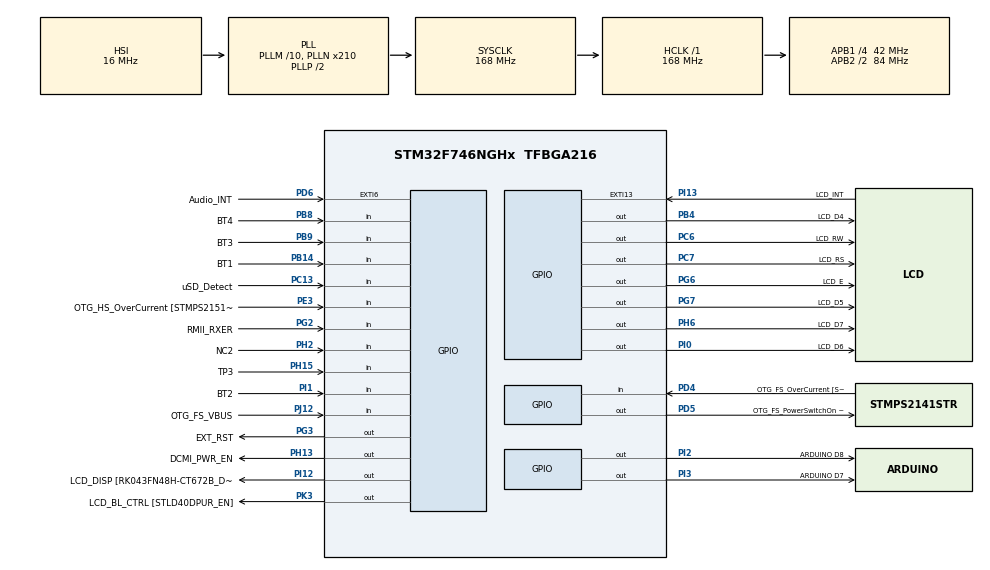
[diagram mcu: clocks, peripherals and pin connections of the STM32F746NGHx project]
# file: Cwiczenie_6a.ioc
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Mcu.Family=STM32F7
Mcu.Name=STM32F746NGHx
Mcu.Package=TFBGA216
NVIC.PriorityGroup=NVIC_PRIORITYGROUP_4
PA0/WKUP.GPIO_Label=ARDUINO A0
PA0/WKUP.GPIO_Mode=GPIO_MODE_ANALOG
PA0/WKUP.GPIO_PuPd=GPIO_NOPULL
PA0/WKUP.Signal=ADCx_IN0
PA1.GPIO_Label=RMII_REF_CLK [LAN8742A-CZ-TR_REFCLK0]
PA1.Signal=ETH_REF_CLK
PA10.GPIO_Label=OTG_FS_ID
PA10.Signal=USB_OTG_FS_ID
PA11.GPIO_Label=OTG_FS_N
PA11.Signal=USB_OTG_FS_DM
PA12.GPIO_Label=OTG_FS_P
PA12.Signal=USB_OTG_FS_DP
PA13.GPIO_Label=SWDIO
PA13.Signal=SYS_JTMS-SWDIO
PA14.GPIO_Label=SWCLK
PA14.Signal=SYS_JTCK-SWCLK
PA15.GPIO_Label=ARDUINO PWM/D9
PA15.GPIO_ModeDefaultPP=GPIO_MODE_AF_PP
PA15.GPIO_PuPd=GPIO_NOPULL
PA15.GPIO_Speed=GPIO_SPEED_FREQ_LOW
PA15.Signal=S_TIM2_CH1_ETR
PA2.GPIO_Label=RMII_MDIO [LAN8742A-CZ-TR_MDIO]
PA2.Signal=ETH_MDIO
PA3.GPIO_Label=ULPI_D0 [USB3320C-EZK_D0]
PA3.Signal=USB_OTG_HS_ULPI_D0
PA4.GPIO_Label=DCMI_HSYNC
PA4.Signal=DCMI_HSYNC
PA5.GPIO_Label=ULPI_CLK [USB3320C-EZK_CLKOUT]
PA5.Signal=USB_OTG_HS_ULPI_CK
PA6.Signal=DCMI_PIXCLK
PA7.GPIO_Label=RMII_CRS_DV [LAN8742A-CZ-TR_CRS_DV]
PA7.Signal=ETH_CRS_DV
PA8.GPIO_Label=ARDUINO PWM/D10
PA8.GPIO_ModeDefaultPP=GPIO_MODE_AF_PP
PA8.GPIO_PuPd=GPIO_NOPULL
PA8.GPIO_Speed=GPIO_SPEED_FREQ_LOW
PA8.Signal=S_TIM1_CH1
PA9.GPIO_Label=VCP_TX [STM32F103CBT6_PA3]
PA9.GPIO_Mode=GPIO_MODE_AF_PP
PA9.GPIO_PuPd=GPIO_NOPULL
PA9.GPIO_Speed=GPIO_SPEED_FREQ_LOW
PA9.Signal=USART1_TX
PB0.GPIO_Label=ULPI_D1 [USB3320C-EZK_D1]
PB0.Signal=USB_OTG_HS_ULPI_D1
PB1.GPIO_Label=ULPI_D2 [USB3320C-EZK_D2]
PB1.Signal=USB_OTG_HS_ULPI_D2
PB10.GPIO_Label=ULPI_D3 [USB3320C-EZK_D3]
PB10.Signal=USB_OTG_HS_ULPI_D3
PB11.GPIO_Label=ULPI_D4 [USB3320C-EZK_D4]
PB11.Signal=USB_OTG_HS_ULPI_D4
PB12.GPIO_Label=ULPI_D5 [USB3320C-EZK_D5]
PB12.Signal=USB_OTG_HS_ULPI_D5
PB13.GPIO_Label=ULPI_D6 [USB3320C-EZK_D6]
PB13.Signal=USB_OTG_HS_ULPI_D6
PB14.GPIO_Label=BT1
PB14.GPIO_PuPd=GPIO_PULLUP
PB14.Signal=GPIO_Input
PB15.GPIO_Label=ARDUINO MOSI/PWM/D11
PB15.GPIO_Mode=GPIO_MODE_AF_PP
PB15.GPIO_PuPd=GPIO_NOPULL
PB15.GPIO_Speed=GPIO_SPEED_FREQ_LOW
PB15.Signal=SPI2_MOSI
PB2.Signal=QUADSPI_CLK
PB3.GPIO_Label=SWO
PB3.Signal=SYS_JTDO-SWO
PB4.GPIO_Label=LCD_D4
PB4.GPIO_Speed=GPIO_SPEED_FREQ_MEDIUM
PB4.Signal=GPIO_Output
PB5.GPIO_Label=ULPI_D7 [USB3320C-EZK_D7]
PB5.Signal=USB_OTG_HS_ULPI_D7
PB6.GPIO_Label=QSPI_NCS [N25Q128A13EF840E_S]
PB6.Signal=QUADSPI_BK1_NCS
PB7.GPIO_Label=VCP_RX [STM32F103CBT6_PA2]
PB7.GPIO_Mode=GPIO_MODE_AF_PP
PB7.GPIO_PuPd=GPIO_NOPULL
PB7.GPIO_Speed=GPIO_SPEED_FREQ_LOW
PB7.Signal=USART1_RX
PB8.GPIO_Label=BT4
PB8.GPIO_PuPd=GPIO_PULLUP
PB8.Signal=GPIO_Input
PB9.GPIO_Label=BT3
PB9.GPIO_PuPd=GPIO_PULLUP
PB9.Signal=GPIO_Input
PC0.GPIO_Label=ULPI_STP [USB3320C-EZK_STP]
PC0.Signal=USB_OTG_HS_ULPI_STP
PC1.GPIO_Label=RMII_MDC [LAN8742A-CZ-TR_MDC]
PC1.Signal=ETH_MDC
PC10.GPIO_Label=SDMMC_D2
PC10.Signal=SDMMC1_D2
PC11.GPIO_Label=SDMMC_D3
PC11.Signal=SDMMC1_D3
PC12.GPIO_Label=SDMMC_CK
PC12.Signal=SDMMC1_CK
PC13.GPIO_Label=uSD_Detect
PC13.Signal=GPIO_Input
PC14/OSC32_IN.GPIO_Label=RCC_OSC32_IN
PC14/OSC32_IN.Signal=RCC_OSC32_IN
PC15/OSC32_OUT.GPIO_Label=RCC_OSC32_OUT
PC15/OSC32_OUT.Signal=RCC_OSC32_OUT
PC2.GPIO_Label=ULPI_DIR [USB3320C-EZK_DIR]
PC2.Signal=USB_OTG_HS_ULPI_DIR
PC3.GPIO_Label=FMC_SDCKE0 [MT48LC4M32B2B5-6A_CKE]
PC3.Signal=FMC_SDCKE0
PC4.GPIO_Label=RMII_RXD0 [LAN8742A-CZ-TR_RXD0]
PC4.Signal=ETH_RXD0
PC5.GPIO_Label=RMII_RXD1 [LAN8742A-CZ-TR_RXD1]
PC5.Signal=ETH_RXD1
PC6.GPIO_Label=LCD_RW
PC6.GPIO_Speed=GPIO_SPEED_FREQ_MEDIUM
PC6.Signal=GPIO_Output
PC7.GPIO_Label=LCD_RS
PC7.GPIO_Speed=GPIO_SPEED_FREQ_MEDIUM
PC7.Signal=GPIO_Output
PC8.Signal=SDMMC1_D0
PC9.Signal=SDMMC1_D1
PD0.GPIO_Label=FMC_D2 [MT48LC4M32B2B5-6A_DQ2]
PD0.Signal=FMC_D2_DA2
PD1.GPIO_Label=FMC_D3 [MT48LC4M32B2B5-6A_DQ3]
PD1.Signal=FMC_D3_DA3
PD10.GPIO_Label=FMC_D15 [MT48LC4M32B2B5-6A_DQ15]
PD10.Signal=FMC_D15_DA15
PD11.GPIO_Label=QSPI_D0 [N25Q128A13EF840E_DQ0]
PD11.Signal=QUADSPI_BK1_IO0
PD12.GPIO_Label=QSPI_D1 [N25Q128A13EF840E_DQ1]
PD12.Signal=QUADSPI_BK1_IO1
PD13.GPIO_Label=QSPI_D3 [N25Q128A13EF840E_DQ3]
PD13.Signal=QUADSPI_BK1_IO3
PD14.GPIO_Label=FMC_D0 [MT48LC4M32B2B5-6A_DQ0]
PD14.Signal=FMC_D0_DA0
PD15.GPIO_Label=FMC_D1 [MT48LC4M32B2B5-6A_DQ1]
PD15.Signal=FMC_D1_DA1
PD2.GPIO_Label=SDMMC_D0
PD2.Signal=SDMMC1_CMD
PD3.GPIO_Label=DCMI_D5
PD3.Signal=DCMI_D5
PD4.GPIO_Label=OTG_FS_OverCurrent [STMPS2141STR_Fault]
PD4.Signal=GPIO_Input
PD5.GPIO_Label=OTG_FS_PowerSwitchOn [STMPS2141STR_EN]
PD5.PinState=GPIO_PIN_SET
PD5.Signal=GPIO_Output
PD6.GPIO_Label=Audio_INT
PD6.GPIO_ModeDefaultEXTI=GPIO_MODE_EVT_RISING
PD6.Signal=GPXTI6
PD7.GPIO_Label=SPDIF_RX0 [74LVC1G04SE_4]
PD7.Signal=SPDIFRX_IN0
PD8.GPIO_Label=FMC_D13 [MT48LC4M32B2B5-6A_DQ13]
PD8.Signal=FMC_D13_DA13
PD9.GPIO_Label=FMC_D14 [MT48LC4M32B2B5-6A_DQ14]
PD9.Signal=FMC_D14_DA14
PE0.GPIO_Label=FMC_NBL0 [MT48LC4M32B2B5-6A_DQM0]
PE0.Signal=FMC_NBL0
PE1.GPIO_Label=FMC_NBL1 [MT48LC4M32B2B5-6A_DQM1]
PE1.Signal=FMC_NBL1
PE10.GPIO_Label=FMC_D7 [MT48LC4M32B2B5-6A_DQ7]
PE10.Signal=FMC_D7_DA7
PE11.GPIO_Label=FMC_D8 [MT48LC4M32B2B5-6A_DQ8]
PE11.Signal=FMC_D8_DA8
PE12.GPIO_Label=FMC_D9 [MT48LC4M32B2B5-6A_DQ9]
PE12.Signal=FMC_D9_DA9
PE13.GPIO_Label=FMC_D10 [MT48LC4M32B2B5-6A_DQ10]
PE13.Signal=FMC_D10_DA10
PE14.GPIO_Label=FMC_D11 [MT48LC4M32B2B5-6A_DQ11]
PE14.Signal=FMC_D11_DA11
PE15.GPIO_Label=FMC_D12 [MT48LC4M32B2B5-6A_DQ12]
PE15.Signal=FMC_D12_DA12
PE2.GPIO_Label=QSPI_D2 [N25Q128A13EF840E_DQ2]
PE2.Signal=QUADSPI_BK1_IO2
PE3.GPIO_Label=OTG_HS_OverCurrent [STMPS2151STR_FAULT]
PE3.Signal=GPIO_Input
PE4.GPIO_Label=LCD_B0 [RK043FN48H-CT672B_B0]
PE4.Signal=LTDC_B0
PE5.GPIO_Label=DCMI_D6
PE5.Signal=DCMI_D6
PE6.GPIO_Label=DCMI_D7
PE6.Signal=DCMI_D7
PE7.GPIO_Label=FMC_D4 [MT48LC4M32B2B5-6A_DQ4]
PE7.Signal=FMC_D4_DA4
PE8.GPIO_Label=FMC_D5 [MT48LC4M32B2B5-6A_DQ5]
PE8.Signal=FMC_D5_DA5
PE9.GPIO_Label=FMC_D6 [MT48LC4M32B2B5-6A_DQ6]
PE9.Signal=FMC_D6_DA6
PF0.GPIO_Label=FMC_A0 [MT48LC4M32B2B5-6A_A0]
PF0.Signal=FMC_A0
PF1.GPIO_Label=FMC_A1 [MT48LC4M32B2B5-6A_A1]
PF1.Signal=FMC_A1
PF10.GPIO_Label=ARDUINO A1
PF10.GPIO_Mode=GPIO_MODE_ANALOG
PF10.GPIO_PuPd=GPIO_NOPULL
PF10.Signal=ADC3_IN8
PF11.GPIO_Label=FMC_SDNRAS [MT48LC4M32B2B5-6A_RAS]
PF11.Signal=FMC_SDNRAS
PF12.GPIO_Label=FMC_A6 [MT48LC4M32B2B5-6A_A6]
PF12.Signal=FMC_A6
PF13.GPIO_Label=FMC_A7 [MT48LC4M32B2B5-6A_A7]
PF13.Signal=FMC_A7
PF14.GPIO_Label=FMC_A8 [MT48LC4M32B2B5-6A_A8]
PF14.Signal=FMC_A8
PF15.GPIO_Label=FMC_A9 [MT48LC4M32B2B5-6A_A9]
PF15.Signal=FMC_A9
PF2.GPIO_Label=FMC_A2 [MT48LC4M32B2B5-6A_A2]
PF2.Signal=FMC_A2
PF3.GPIO_Label=FMC_A3 [MT48LC4M32B2B5-6A_A3]
PF3.Signal=FMC_A3
PF4.GPIO_Label=FMC_A4 [MT48LC4M32B2B5-6A_A4]
PF4.Signal=FMC_A4
PF5.GPIO_Label=FMC_A5 [MT48LC4M32B2B5-6A_A5]
PF5.Signal=FMC_A5
PF6.GPIO_Label=ARDUINO A5
PF6.GPIO_Mode=GPIO_MODE_ANALOG
PF6.GPIO_PuPd=GPIO_NOPULL
PF6.Signal=ADC3_IN4
PF7.GPIO_Label=ARDUINO A4
PF7.GPIO_Mode=GPIO_MODE_ANALOG
PF7.GPIO_PuPd=GPIO_NOPULL
PF7.Signal=ADC3_IN5
PF8.GPIO_Label=ARDUINO A3
PF8.GPIO_Mode=GPIO_MODE_ANALOG
PF8.GPIO_PuPd=GPIO_NOPULL
PF8.Signal=ADC3_IN6
PF9.GPIO_Label=ARDUINO A2
PF9.GPIO_Mode=GPIO_MODE_ANALOG
PF9.GPIO_PuPd=GPIO_NOPULL
PF9.Signal=ADC3_IN7
PG0.GPIO_Label=FMC_A10 [MT48LC4M32B2B5-6A_A10]
PG0.Signal=FMC_A10
PG1.GPIO_Label=FMC_A11 [MT48LC4M32B2B5-6A_A11]
PG1.Signal=FMC_A11
PG10.GPIO_Label=SAI2_SDB [WM8994ECS/R_ADCDAT1]
PG10.Signal=SAI2_SD_B
PG11.GPIO_Label=RMII_TX_EN [LAN8742A-CZ-TR_TXEN]
PG11.Signal=ETH_TX_EN
PG12.GPIO_Label=LCD_B4 [RK043FN48H-CT672B_B4]
PG12.Signal=LTDC_B4
PG13.GPIO_Label=RMII_TXD0 [LAN8742A-CZ-TR_TXD0]
PG13.Signal=ETH_TXD0
PG14.GPIO_Label=RMII_TXD1 [LAN8742A-CZ-TR_TXD1]
PG14.Signal=ETH_TXD1
PG15.GPIO_Label=FMC_SDNCAS [MT48LC4M32B2B5-6A_CAS]
PG15.Signal=FMC_SDNCAS
PG2.GPIO_Label=RMII_RXER
PG2.Signal=GPIO_Input
PG3.GPIO_Label=EXT_RST
PG3.Signal=GPIO_Output
PG4.GPIO_Label=FMC_BA0 [MT48LC4M32B2B5-6A_BA0]
PG4.Signal=FMC_A14_BA0
PG5.GPIO_Label=FMC_BA1 [MT48LC4M32B2B5-6A_BA1]
PG5.Signal=FMC_A15_BA1
PG6.GPIO_Label=LCD_E
PG6.GPIO_Speed=GPIO_SPEED_FREQ_MEDIUM
PG6.Signal=GPIO_Output
PG7.GPIO_Label=LCD_D5
PG7.GPIO_Speed=GPIO_SPEED_FREQ_MEDIUM
PG7.Signal=GPIO_Output
PG8.GPIO_Label=FMC_SDCLK [MT48LC4M32B2B5-6A_CLK]
PG8.Signal=FMC_SDCLK
PG9.GPIO_Label=DCMI_VSYNC
PG9.Signal=DCMI_VSYNC
PH0/OSC_IN.GPIO_Label=OSC_25M [NZ2520SB-25.00M_OUT]
PH0/OSC_IN.Signal=RCC_OSC_IN
PH1/OSC_OUT.Signal=RCC_OSC_OUT
PH10.GPIO_Label=DCMI_D1
PH10.Signal=DCMI_D1
PH11.GPIO_Label=DCMI_D2
PH11.Signal=DCMI_D2
PH12.GPIO_Label=DCMI_D3
PH12.Signal=DCMI_D3
PH13.GPIO_Label=DCMI_PWR_EN
PH13.Signal=GPIO_Output
PH14.GPIO_Label=DCMI_D4
PH14.Signal=DCMI_D4
PH15.GPIO_Label=TP3
PH15.Signal=GPIO_Input
PH2.GPIO_Label=NC2
PH2.Signal=GPIO_Input
PH3.GPIO_Label=FMC_SDNE0 [MT48LC4M32B2B5-6A_CS]
PH3.Signal=FMC_SDNE0
PH4.GPIO_Label=ULPI_NXT [USB3320C-EZK_NXT]
PH4.Signal=USB_OTG_HS_ULPI_NXT
PH5.GPIO_Label=FMC_SDNME [MT48LC4M32B2B5-6A_WE]
PH5.Signal=FMC_SDNWE
PH6.GPIO_Label=LCD_D7
PH6.GPIO_Speed=GPIO_SPEED_FREQ_MEDIUM
PH6.Signal=GPIO_Output
PH7.GPIO_Label=LCD_SCL [RK043FN48H-CT672B_SCL]
PH7.Signal=I2C3_SCL
PH8.GPIO_Label=LCD_SDA [RK043FN48H-CT672B_SDA]
PH8.Signal=I2C3_SDA
PH9.GPIO_Label=DCMI_D0
PH9.Signal=DCMI_D0
PI0.GPIO_Label=LCD_D6
PI0.GPIO_Speed=GPIO_SPEED_FREQ_MEDIUM
PI0.Signal=GPIO_Output
PI1.GPIO_Label=BT2
PI1.GPIO_PuPd=GPIO_PULLUP
PI1.Signal=GPIO_Input
PI10.GPIO_Label=LCD_HSYNC [RK043FN48H-CT672B_HSYNC]
PI10.Signal=LTDC_HSYNC
PI12.GPIO_Label=LCD_DISP [RK043FN48H-CT672B_DISP] 
PI12.Signal=GPIO_Output
PI13.GPIO_Label=LCD_INT
PI13.GPIO_ModeDefaultEXTI=GPIO_MODE_EVT_RISING
PI13.Signal=GPXTI13
PI14.GPIO_Label=LCD_CLK [RK043FN48H-CT672B_CLK]
PI14.Signal=LTDC_CLK
PI15.GPIO_Label=LCD_R0 [RK043FN48H-CT672B_R0]
PI15.Signal=LTDC_R0
PI2.GPIO_Label=ARDUINO D8
PI2.Signal=GPIO_Output
PI3.GPIO_Label=ARDUINO D7
PI3.Signal=GPIO_Output
PI4.GPIO_Label=SAI2_MCLKA [WM8994ECS/R_MCLK1]
PI4.Signal=SAI2_MCLK_A
PI5.GPIO_Label=SAI2_SCKA [WM8994ECS/R_BCLK1]
PI5.Signal=SAI2_SCK_A
PI6.GPIO_Label=SAI2_SDA [WM8994ECS/R_DACDAT1]
PI6.Signal=SAI2_SD_A
PI7.GPIO_Label=SAI2_FSA [WM8994ECS/R_LRCLK1]
PI7.Signal=SAI2_FS_A
PI8.GPIO_Label=NC1 [TP2]
PI8.Signal=RTC_TS
PI9.GPIO_Label=LCD_VSYNC [RK043FN48H-CT672B_VSYNC]
PI9.Signal=LTDC_VSYNC
PJ0.GPIO_Label=LCD_R1 [RK043FN48H-CT672B_R1]
PJ0.Signal=LTDC_R1
PJ1.GPIO_Label=LCD_R2 [RK043FN48H-CT672B_R2]
PJ1.Signal=LTDC_R2
PJ10.GPIO_Label=LCD_G3 [RK043FN48H-CT672B_G3]
PJ10.Signal=LTDC_G3
PJ11.GPIO_Label=LCD_G4 [RK043FN48H-CT672B_G4]
PJ11.Signal=LTDC_G4
PJ12.GPIO_Label=OTG_FS_VBUS
PJ12.Signal=GPIO_Input
PJ13.GPIO_Label=LCD_B1 [RK043FN48H-CT672B_B1]
PJ13.Signal=LTDC_B1
PJ14.GPIO_Label=LCD_B2 [RK043FN48H-CT672B_B2]
PJ14.Signal=LTDC_B2
PJ15.GPIO_Label=LCD_B3 [RK043FN48H-CT672B_B3]
PJ15.Signal=LTDC_B3
PJ2.GPIO_Label=LCD_R3 [RK043FN48H-CT672B_R3]
PJ2.Signal=LTDC_R3
PJ3.GPIO_Label=LCD_R4 [RK043FN48H-CT672B_R4]
PJ3.Signal=LTDC_R4
PJ4.GPIO_Label=LCD_R5 [RK043FN48H-CT672B_R5]
PJ4.Signal=LTDC_R5
PJ5.GPIO_Label=LCD_R6 [RK043FN48H-CT672B_R6]
PJ5.Signal=LTDC_R6
PJ6.GPIO_Label=LCD_R7 [RK043FN48H-CT672B_R7]
PJ6.Signal=LTDC_R7
PJ7.GPIO_Label=LCD_G0 [RK043FN48H-CT672B_G0]
PJ7.Signal=LTDC_G0
PJ8.GPIO_Label=LCD_G1 [RK043FN48H-CT672B_G1]
PJ8.Signal=LTDC_G1
PJ9.GPIO_Label=LCD_G2 [RK043FN48H-CT672B_G2]
PJ9.Signal=LTDC_G2
PK0.GPIO_Label=LCD_G5 [RK043FN48H-CT672B_G5]
PK0.Signal=LTDC_G5
PK1.GPIO_Label=LCD_G6 [RK043FN48H-CT672B_G6]
PK1.Signal=LTDC_G6
PK2.GPIO_Label=LCD_G7 [RK043FN48H-CT672B_G7]
PK2.Signal=LTDC_G7
PK3.GPIO_Label=LCD_BL_CTRL [STLD40DPUR_EN]
PK3.Signal=GPIO_Output
PK4.GPIO_Label=LCD_B5 [RK043FN48H-CT672B_B5]
PK4.Signal=LTDC_B5
PK5.GPIO_Label=LCD_B6 [RK043FN48H-CT672B_B6]
PK5.Signal=LTDC_B6
PK6.GPIO_Label=LCD_B7 [RK043FN48H-CT672B_B7]
PK6.Signal=LTDC_B7
PK7.GPIO_Label=LCD_DE [RK043FN48H-CT672B_DE]
PK7.Signal=LTDC_DE
ProjectManager.HeapSize=0x200
ProjectManager.StackSize=0x400
ProjectManager.TargetToolchain=STM32CubeIDE
RCC.AHBFreq_Value=168000000
RCC.APB1CLKDivider=RCC_HCLK_DIV4
RCC.APB1Freq_Value=42000000
RCC.APB1TimFreq_Value=84000000
RCC.APB2CLKDivider=RCC_HCLK_DIV2
RCC.APB2Freq_Value=84000000
RCC.APB2TimFreq_Value=168000000
RCC.CortexFreq_Value=168000000
RCC.HCLKFreq_Value=168000000
RCC.HSE_VALUE=25000000
RCC.HSI_VALUE=16000000
RCC.LSE_VALUE=32768
RCC.PLLM=10
RCC.PLLN=210
RCC.PLLSourceVirtual=RCC_PLLSOURCE_HSI
RCC.SYSCLKFreq_VALUE=168000000
RCC.SYSCLKSource=RCC_SYSCLKSOURCE_PLLCLK
RCC.USBFreq_Value=168000000
RCC.VCOOutputFreq_Value=336000000
SH.ADCx_IN0.0=ADC3_IN0
SH.FMC_A0.0=FMC_A0
SH.FMC_A1.0=FMC_A1
SH.FMC_A10.0=FMC_A10
SH.FMC_A11.0=FMC_A11
SH.FMC_A14_BA0.0=FMC_BA0
SH.FMC_A15_BA1.0=FMC_BA1
SH.FMC_A2.0=FMC_A2
SH.FMC_A3.0=FMC_A3
SH.FMC_A4.0=FMC_A4
SH.FMC_A5.0=FMC_A5
SH.FMC_A6.0=FMC_A6
SH.FMC_A7.0=FMC_A7
SH.FMC_A8.0=FMC_A8
SH.FMC_A9.0=FMC_A9
SH.FMC_D0_DA0.0=FMC_D0
SH.FMC_D10_DA10.0=FMC_D10
SH.FMC_D11_DA11.0=FMC_D11
SH.FMC_D12_DA12.0=FMC_D12
SH.FMC_D13_DA13.0=FMC_D13
SH.FMC_D14_DA14.0=FMC_D14
SH.FMC_D15_DA15.0=FMC_D15
SH.FMC_D1_DA1.0=FMC_D1
SH.FMC_D2_DA2.0=FMC_D2
SH.FMC_D3_DA3.0=FMC_D3
SH.FMC_D4_DA4.0=FMC_D4
SH.FMC_D5_DA5.0=FMC_D5
SH.FMC_D6_DA6.0=FMC_D6
SH.FMC_D7_DA7.0=FMC_D7
SH.FMC_D8_DA8.0=FMC_D8
SH.FMC_D9_DA9.0=FMC_D9
SH.FMC_NBL0.0=FMC_NBL0
SH.FMC_NBL1.0=FMC_NBL1
SH.FMC_SDCLK.0=FMC_SDCLK
SH.FMC_SDNCAS.0=FMC_SDNCAS
SH.FMC_SDNRAS.0=FMC_SDNRAS
SH.FMC_SDNWE.0=FMC_SDNWE
SH.S_TIM1_CH1.0=TIM1_CH1
SH.S_TIM2_CH1_ETR.0=TIM2_CH1
board=STM32F746G-DISCO

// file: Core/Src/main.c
/* USER CODE BEGIN Header */
/**
  ******************************************************************************
  * @file           : main.c
  * @brief          : Main program body
  ******************************************************************************
  * @attention
  *
  * Copyright (c) 2022 STMicroelectronics.
  * All rights reserved.
  *
  * This software is licensed under terms that can be found in the LICENSE file
  * in the root directory of this software component.
  * If no LICENSE file comes with this software, it is provided AS-IS.
  *
  ******************************************************************************
  */
/* USER CODE END Header */
#include "main.h"
#include "gpio.h"

/* USER CODE BEGIN Includes */
#include "lcd.h"
#include "string.h"
/* USER CODE END Includes */

/* USER CODE BEGIN PV */
char tekst[17] = {"01234 ABCDE"};
unsigned char dlTekstu;
volatile signed int pozycjaZnaku;
/* USER CODE END PV */

void SystemClock_Config(void);

int main(void)
{

  /* MCU Configuration--------------------------------------------------------*/

  /* Reset of all peripherals, Initializes the Flash interface and the Systick. */
  HAL_Init();

  /* Configure the system clock */
  SystemClock_Config();

  /* Initialize all configured peripherals */
  MX_GPIO_Init();

  /* Infinite loop */
  /* USER CODE BEGIN WHILE */
  LCD_Initialize();                         //inicjalizacja wysietlacza
  LCD_WriteCommand(HD44780_CLEAR);          //wyczyszczenie wyświetlacza
  LCD_WriteTextXY("TEST test",0,0);
  LCD_WriteTextXY("123456789",0,1);
  LCD_WriteCommand(HD44780_DISPLAY_ONOFF | HD44780_DISPLAY_ON | HD44780_CURSOR_ON | HD44780_CURSOR_BLINK);
  LCD_WriteCommand(HD44780_CLEAR);          //wyczyszczenie wyświetlacza
  LCD_WriteText(tekst);

  pozycjaZnaku =0;
  LCD_GoTo(0, 0);
  dlTekstu=strlen(tekst);

  while (1)
  {
    /* USER CODE END WHILE */

    /* USER CODE BEGIN 3 */
	  if(!HAL_GPIO_ReadPin(BT1_GPIO_Port, BT1_Pin) && (pozycjaZnaku>0))
	  {
		  pozycjaZnaku--;
		  LCD_WriteCommand(HD44780_DISPLAY_CURSOR_SHIFT | HD44780_EM_SHIFT_CURSOR | HD44780_SHIFT_LEFT);
	  }
	  if(!HAL_GPIO_ReadPin(BT2_GPIO_Port, BT2_Pin) && (pozycjaZnaku<dlTekstu-1))
	  {
		  pozycjaZnaku++;
		  LCD_WriteCommand(HD44780_DISPLAY_CURSOR_SHIFT | HD44780_EM_SHIFT_CURSOR | HD44780_SHIFT_RIGHT);
	  }
	  if(!HAL_GPIO_ReadPin(BT3_GPIO_Port, BT3_Pin) && (tekst[pozycjaZnaku]>32))
	  {
		  tekst[pozycjaZnaku]--;
		  LCD_WriteCommand(HD44780_CLEAR);
		  LCD_WriteText(tekst);
		  LCD_GoTo(pozycjaZnaku, 0);

	  }
	  if(!HAL_GPIO_ReadPin(BT4_GPIO_Port, BT4_Pin) && (tekst[pozycjaZnaku]<=255))
	  {
		  tekst[pozycjaZnaku]++;
		  LCD_WriteCommand(HD44780_CLEAR);
		  LCD_WriteText(tekst);
		  LCD_GoTo(pozycjaZnaku, 0);

	  }
	  HAL_Delay(150);
  }
  /* USER CODE END 3 */
}

void SystemClock_Config(void)
{
  RCC_OscInitTypeDef RCC_OscInitStruct = {0};
  RCC_ClkInitTypeDef RCC_ClkInitStruct = {0};

  /** Configure the main internal regulator output voltage
  */
  __HAL_RCC_PWR_CLK_ENABLE();
  __HAL_PWR_VOLTAGESCALING_CONFIG(PWR_REGULATOR_VOLTAGE_SCALE2);

  /** Initializes the RCC Oscillators according to the specified parameters
  * in the RCC_OscInitTypeDef structure.
  */
  RCC_OscInitStruct.OscillatorType = RCC_OSCILLATORTYPE_HSI;
  RCC_OscInitStruct.HSIState = RCC_HSI_ON;
  RCC_OscInitStruct.HSICalibrationValue = RCC_HSICALIBRATION_DEFAULT;
  RCC_OscInitStruct.PLL.PLLState = RCC_PLL_ON;
  RCC_OscInitStruct.PLL.PLLSource = RCC_PLLSOURCE_HSI;
  RCC_OscInitStruct.PLL.PLLM = 10;
  RCC_OscInitStruct.PLL.PLLN = 210;
  RCC_OscInitStruct.PLL.PLLP = RCC_PLLP_DIV2;
  RCC_OscInitStruct.PLL.PLLQ = 2;
  if (HAL_RCC_OscConfig(&RCC_OscInitStruct) != HAL_OK)
  {
    Error_Handler();
  }

  /** Initializes the CPU, AHB and APB buses clocks
  */
  RCC_ClkInitStruct.ClockType = RCC_CLOCKTYPE_HCLK|RCC_CLOCKTYPE_SYSCLK
                              |RCC_CLOCKTYPE_PCLK1|RCC_CLOCKTYPE_PCLK2;
  RCC_ClkInitStruct.SYSCLKSource = RCC_SYSCLKSOURCE_PLLCLK;
  RCC_ClkInitStruct.AHBCLKDivider = RCC_SYSCLK_DIV1;
  RCC_ClkInitStruct.APB1CLKDivider = RCC_HCLK_DIV4;
  RCC_ClkInitStruct.APB2CLKDivider = RCC_HCLK_DIV2;

  if (HAL_RCC_ClockConfig(&RCC_ClkInitStruct, FLASH_LATENCY_5) != HAL_OK)
  {
    Error_Handler();
  }
}

void Error_Handler(void)
{
  __disable_irq();
  while (1)
  {
  }
}
